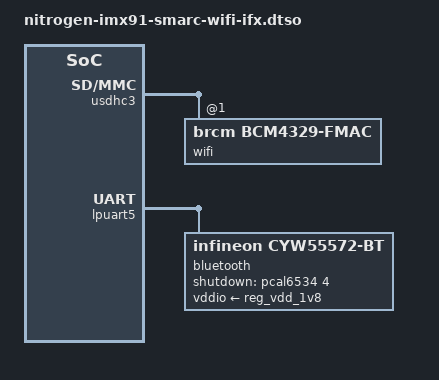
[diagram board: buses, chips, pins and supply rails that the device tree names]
// SPDX-License-Identifier: (GPL-2.0+ OR MIT)
/*
 * SDIO LWBxx & IFxxx module
 *
 * Copyright (C) 2025 Ezurio LLC
 */

/dts-v1/;
/plugin/;

#include <dt-bindings/gpio/gpio.h>

&reg_wifi_en {
	startup-delay-us = <250000>;
	off-on-delay-us = <100>;
};

&usdhc3 {
	status = "okay";

	#address-cells = <1>;
	#size-cells = <0>;

	wifi@1 {
		reg = <1>;
		compatible = "brcm,bcm4329-fmac";
	};
};

&lpuart5 {
	status = "okay";

	bluetooth {
		compatible = "infineon,cyw55572-bt";
		vddio-supply = <&reg_vdd_1v8>;
		brcm,requires-autobaud-mode;
		max-speed = <3000000>;
		shutdown-gpios = <&pcal6534 4 GPIO_ACTIVE_HIGH>;
	};
};
